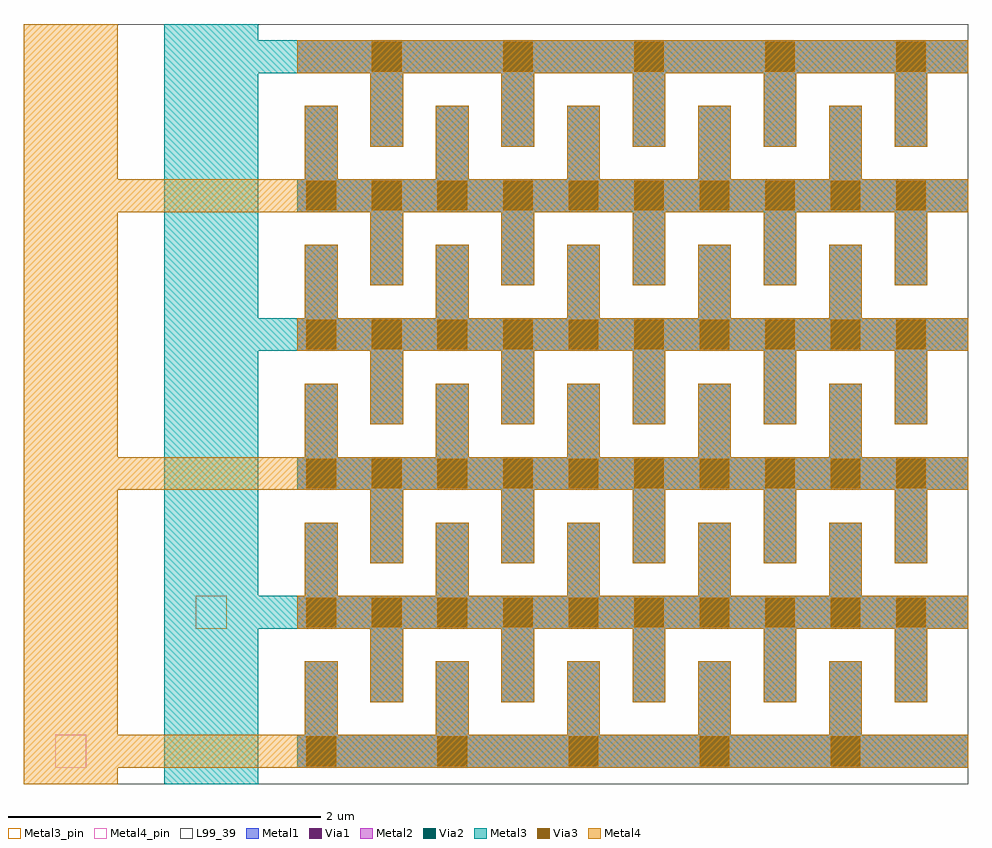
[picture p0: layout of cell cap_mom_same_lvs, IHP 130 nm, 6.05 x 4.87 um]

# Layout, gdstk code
import gdstk
lib = gdstk.Library(unit=1e-6, precision=1e-09)
def R(c, l, rs):  # rectangles x0, y0, x1, y1
    for r in rs: c.add(gdstk.rectangle(r[:2], r[2:], *l))
def A(c, l, x, y, w, h, nx, ny, dx, dy):  # array of equal rectangles
    R(c, l, [(x+i*dx, y+j*dy, x+i*dx+w, y+j*dy+h) for i in range(nx) for j in range(ny)])
Metal1 = (8, 0)
Metal2 = (10, 0)
Via1 = (19, 0)
Via2 = (29, 0)
Metal3 = (30, 0)
Metal3_pin = (30, 2)
Via3 = (49, 0)
Metal4 = (50, 0)
Metal4_pin = (50, 2)
L99_39 = (99, 39)

cap_mom_same_lvs = lib.new_cell('cap_mom_same_lvs')
A(cap_mom_same_lvs, Metal1, -0.05, -0.105, 4.3, 0.21, 1, 6, 0, 0.89)
A(cap_mom_same_lvs, Metal1, 0, 0, 0.21, 0.575, 5, 5, 0.84, 0.89)
A(cap_mom_same_lvs, Metal1, 0.42, 0.315, 0.21, 0.575, 5, 5, 0.84, 0.89)
A(cap_mom_same_lvs, Metal2, -0.05, -0.105, 4.3, 0.21, 1, 6, 0, 0.89)
A(cap_mom_same_lvs, Metal2, 0, 0, 0.21, 0.575, 5, 5, 0.84, 0.89)
A(cap_mom_same_lvs, Metal2, 0.42, 0.315, 0.21, 0.575, 5, 5, 0.84, 0.89)
A(cap_mom_same_lvs, Via1, 0.01, -0.095, 0.19, 0.19, 5, 1, 0.84, 0)
A(cap_mom_same_lvs, Via1, 0.01, 0.795, 0.19, 0.19, 10, 4, 0.42, 0.89)
A(cap_mom_same_lvs, Via1, 0.43, 4.355, 0.19, 0.19, 5, 1, 0.84, 0)
A(cap_mom_same_lvs, Via2, 0.01, -0.095, 0.19, 0.19, 5, 1, 0.84, 0)
A(cap_mom_same_lvs, Via2, 0.01, 0.795, 0.19, 0.19, 10, 4, 0.42, 0.89)
A(cap_mom_same_lvs, Via2, 0.43, 4.355, 0.19, 0.19, 5, 1, 0.84, 0)
A(cap_mom_same_lvs, Metal3, -0.05, -0.105, 4.3, 0.21, 1, 3, 0, 1.78)
A(cap_mom_same_lvs, Metal3, 0, 0, 0.21, 0.575, 5, 5, 0.84, 0.89)
A(cap_mom_same_lvs, Metal3, 0.42, 0.315, 0.21, 0.575, 5, 5, 0.84, 0.89)
A(cap_mom_same_lvs, Metal3, -0.9, 0.785, 5.15, 0.21, 1, 3, 0, 1.78)
R(cap_mom_same_lvs, Metal3, [(-0.9,-0.21,-0.3,4.66)])
R(cap_mom_same_lvs, Metal3_pin, [(-0.7,0.785,-0.5,0.995)])
A(cap_mom_same_lvs, Via3, 0.01, -0.095, 0.19, 0.19, 5, 1, 0.84, 0)
A(cap_mom_same_lvs, Via3, 0.01, 0.795, 0.19, 0.19, 10, 4, 0.42, 0.89)
A(cap_mom_same_lvs, Via3, 0.43, 4.355, 0.19, 0.19, 5, 1, 0.84, 0)
A(cap_mom_same_lvs, Metal4, -1.8, -0.105, 6.05, 0.21, 1, 3, 0, 1.78)
A(cap_mom_same_lvs, Metal4, 0, 0, 0.21, 0.575, 5, 5, 0.84, 0.89)
A(cap_mom_same_lvs, Metal4, 0.42, 0.315, 0.21, 0.575, 5, 5, 0.84, 0.89)
A(cap_mom_same_lvs, Metal4, -0.05, 0.785, 4.3, 0.21, 1, 3, 0, 1.78)
R(cap_mom_same_lvs, Metal4, [(-1.8,-0.21,-1.2,4.66)])
R(cap_mom_same_lvs, Metal4_pin, [(-1.6,-0.105,-1.4,0.105)])
R(cap_mom_same_lvs, L99_39, [(-1.8,-0.21,4.25,4.66)])
cap_mom_same_lvs.add(gdstk.Label('cap_mom C=21.674fF', (-1.8,-0.71), layer=63, texttype=0))

lib.write_gds('cap_mom_same_lvs.gds')
